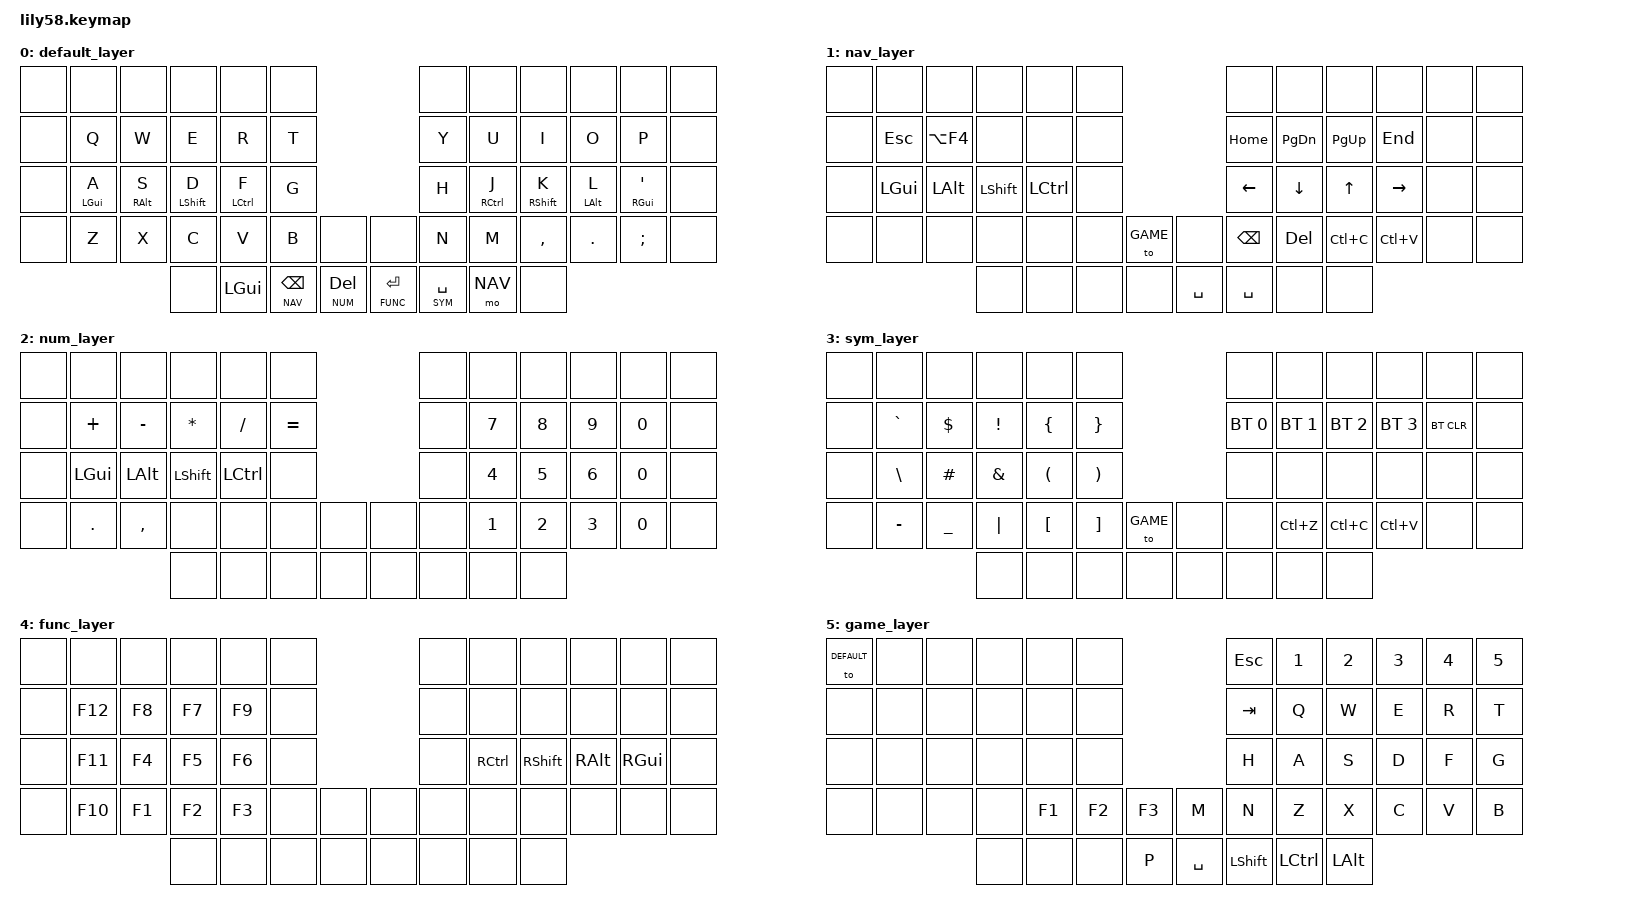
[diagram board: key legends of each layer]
/*
 * Copyright (c) 2020 The ZMK Contributors
 *
 * SPDX-License-Identifier: MIT
 */

#include <behaviors.dtsi>
#include <dt-bindings/zmk/keys.h>
#include <dt-bindings/zmk/bt.h>
#include <dt-bindings/zmk/ext_power.h>

#define DEFAULT 0
#define NAV 1
#define NUM 2
#define SYM 3
#define FUNC 4
#define GAME 5

/ {
        behaviors {
                hm: homerow_mods {
                        compatible = "zmk,behavior-hold-tap";
                        label = "HOMEROW_MODS";
                        #binding-cells = <2>;
                        tapping_term_ms = <180>;
                        flavor = "tap-preferred";
                        bindings = <&kp>, <&kp>;
                };
        };

        combos {
                compatible = "zmk,combos";
                combo_slash {
                        timeout-ms = <50>;
                        key-positions = <46 47>;
                        bindings = <&kp SLASH>;
                        layers = <0>;
                };

                combo_backslash {
                        timeout-ms = <50>;
                        key-positions = <47 48>;
                        bindings = <&kp BSLH>;
                        layers = <0>;
                };
                
                combo_tab {
                        timeout-ms = <50>;
                        key-positions = <27 28>;
                        bindings = <&kp TAB>;
                        layers = <0>;
                };
                
                
                combo_esc {
                        timeout-ms = <50>;
                        key-positions = <15 16>;
                        bindings = <&kp ESC>;
                        layers = <0>;
                };
        };

        keymap {
                compatible = "zmk,keymap";

                default_layer {
// -----------------------------------------------------------------------------------------
// |  Q  |  W  |  E  |  R  |  T  |   |  Y  |  U   |  I  |  O  |  P  |
// |  A  |  S  |  D  |  F  |  G  |   |  H  |  J   |  K  |  L  |  '  |
// |  Z  |  X  |  C  |  V  |  B  |   |  N  |  M   |  ,  |  .  |  ;  |
//             |  -  | BSP | DEL |   | ENT | SPC  | ALT |
                        bindings = <
   &none      &none          &none       &none        &none        &none                     /**/                  &none         &none       &none       &none        &none          &none
   &none      &kp Q          &kp W       &kp E        &kp R        &kp T                     /**/                  &kp Y         &kp U       &kp I       &kp O        &kp P          &none
   &none      &hm LGUI  A    &hm RALT S  &hm LSHFT D  &hm LCTRL F  &kp G                     /**/                  &kp H         &hm RCTRL J &hm RSHFT K &hm LALT L   &hm RGUI SQT   &none
   &none      &kp Z          &kp X       &kp C        &kp V        &kp B         &none       /**/   &none          &kp N         &kp M       &kp COMMA   &kp DOT      &kp SEMI       &none
                                         &none        &kp LGUI     &lt NAV BSPC  &lt NUM DEL /**/   &lt FUNC ENTER &lt SYM SPACE &mo NAV     &none
                        >;
                };


                nav_layer {
/*
        | ESC | AF4 |     |     |     |        | HME | DWN | UP  | END |     |
        | WIN | ALT | SFT | CTL |     |        | <-  |  ^  |  v  | ->  |     |
        |     |     |     |     |     |        |     | BSP | DEL |     |     |
                    |     |     |     |        |     |     |     | 
*/
                        bindings = <
   &none      &none      &none      &none      &none      &none                /**/                 &none      &none      &none      &none      &none        &none
   &none      &kp ESC    &kp LA(F4) &none      &none      &none                /**/                 &kp HOME   &kp PG_DN  &kp PG_UP  &kp END    &none        &none
   &none      &kp LGUI   &kp LALT   &kp LSHFT  &kp LCTRL  &none                /**/                 &kp LEFT   &kp DOWN   &kp UP     &kp RIGHT  &none        &none
   &none      &none      &none      &none      &none      &none     &to GAME   /**/      &none      &kp BSPC   &kp DEL    &kp LC(C)  &kp LC(V)  &none        &none
                                    &none      &none      &none     &none      /**/      &kp SPACE  &kp SPACE  &none      &none
                        >;
                };


                num_layer {
/*
        |  +  |  -  |  *  |  /  |  =  |        |     |  7  |  8  |  9  |  0  |
        | WIN | ALT | SFT | CTL |     |        |     |  4  |  5  |  6  |  0  |
        |  .  |  ,  |     |     |     |        |     |  1  |  2  |  3  |  0  |
                    |     |     |     |        |     |     |     | 
*/
                        bindings = <
   &none      &none     &none      &none      &none      &none                /**/                 &none      &none      &none      &none       &none        &none
   &none      &kp PLUS  &kp MINUS  &kp ASTRK  &kp SLASH  &kp EQUAL            /**/                 &none      &kp N7     &kp N8     &kp N9      &kp N0       &none
   &none      &kp LGUI  &kp LALT   &kp LSHFT  &kp LCTRL  &none                /**/                 &none      &kp N4     &kp N5     &kp N6      &kp N0       &none
   &none      &kp DOT   &kp COMMA  &none      &none      &none       &none    /**/      &none      &none      &kp N1     &kp N2     &kp N3      &kp N0       &none
                                   &none      &none      &none       &none    /**/      &none      &none      &none      &none
                        >;
                };


                sym_layer {
/*
        |  `  |  $  |  !  |  {  |  }  |        |     |     |     |     |     |
        |  \  |  #  |  &  |  (  |  )  |        |     |     |     |     |     |
        |  -  |  _  |  |  |  [  |  ]  |        |     | CUT | CPY | PST |     |
                    |     |     |     |        |     |     |     | 
*/
                        bindings = <
   &none      &none      &none     &none      &none      &none                 /**/            &none         &none         &none          &none         &none        &none
   &none      &kp GRAVE  &kp DLLR  &kp EXCL   &kp LBRC   &kp RBRC              /**/            &bt BT_SEL 0  &bt BT_SEL 1  &bt BT_SEL 2   &bt BT_SEL 3  &bt BT_CLR   &none
   &none      &kp BSLH   &kp HASH  &kp AMPS   &kp LPAR   &kp RPAR              /**/            &none         &none         &none          &none         &none        &none
   &none      &kp MINUS  &kp UNDER &kp PIPE   &kp LBKT   &kp RBKT  &to GAME    /**/    &none   &none         &kp LC(Z)     &kp LC(C)      &kp LC(V)     &none        &none
                                   &none      &none      &none     &none       /**/    &none   &none         &none         &none
                        >;
                };


                func_layer {
/*
        | F12 |  F7 |  F8 |  F9 |     |        |     |     |     |     |     |
        | F11 |  F4 |  F5 |  F6 |     |        |     | WIN | ALT | SFT | CTL |
        | F10 |  F1 |  F2 |  F3 |     |        |     |     |     |     |     |
                    |     |     |     |        |     |     |     | 
*/
                        bindings = <
   &none      &none      &none     &none      &none      &none           /**/            &none      &none      &none      &none      &none      &none
   &none      &kp F12    &kp F8    &kp F7     &kp F9     &none           /**/            &none      &none      &none      &none      &none      &none
   &none      &kp F11    &kp F4    &kp F5     &kp F6     &none           /**/            &none      &kp RCTRL  &kp RSHFT  &kp RALT   &kp RGUI   &none
   &none      &kp F10    &kp F1    &kp F2     &kp F3     &none    &none  /**/    &none   &none      &none      &none      &none      &none      &none
                                   &none      &none      &none    &none  /**/    &none   &none      &none      &none
                        >;
                };

                // game
		game_layer {
// ------------------------------------------------------------------------------------------------------------
// |       |     |     |      |      |      |                   |      |       |       |      |       |       |
// |       |     |     |      |      |      |                   |      |       |       |      |       |       |
// |       |     |     |      |      |      |                   |      |       |       |      |       |       |
// |       |     |     |      |      |      |        |  |       |      |       |       |      |       |       |
//                     |      |      |      |        |  |       |      |       |       |
			bindings = <
&to DEFAULT    &none      &none     &none       &none     &none                           &kp ESC    &kp N1     &kp N2    &kp N3    &kp N4   &kp N5
&none          &none      &none     &none       &none     &none                           &kp TAB    &kp Q      &kp W     &kp E     &kp R    &kp T
&none          &none      &none     &none       &none     &none                           &kp H      &kp A      &kp S     &kp D     &kp F    &kp G
&none          &none      &none     &none       &kp F1    &kp F2    &kp F3    &kp M       &kp N      &kp Z      &kp X     &kp C     &kp V    &kp B
                                   &none        &none     &none     &kp P     &kp SPACE   &kp LSHFT  &kp LCTRL  &kp LALT	
			>;
		};
	};
};
